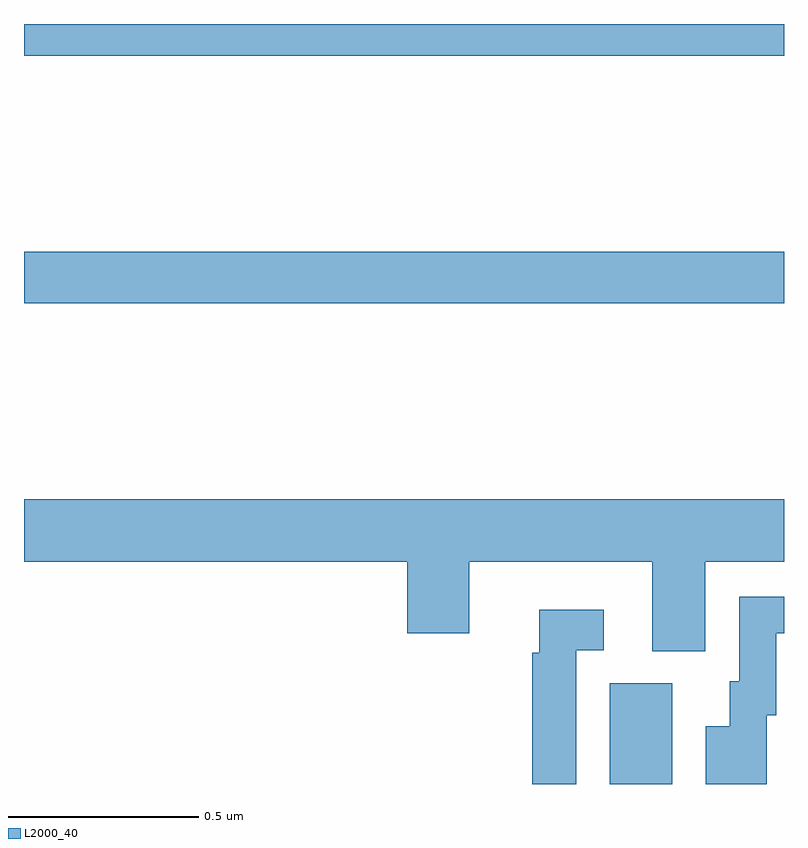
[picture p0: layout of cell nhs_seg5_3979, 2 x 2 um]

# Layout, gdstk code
import gdstk
lib = gdstk.Library(unit=1e-6, precision=1e-09)
def R(c, l, rs):  # rectangles x0, y0, x1, y1
    for r in rs: c.add(gdstk.rectangle(r[:2], r[2:], *l))
def P(c, l, *ps):  # polygons
    for p in ps: c.add(gdstk.Polygon(p, *l))
L2000_40 = (2000, 40)

nhs_seg5_3979 = lib.new_cell('nhs_seg5_3979')
R(nhs_seg5_3979, L2000_40, [(165.542,898.799,165.706,899.064), (164,900.064,166,900.2), (164,900.716,166,900.799)])
P(nhs_seg5_3979, L2000_40, [(165.793,899.384),(166,899.384),(166,899.548),(164,899.548),(164,899.384),(165.008,899.384),(165.008,899.196),(165.172,899.196),(165.172,899.384),(165.653,899.384),(165.653,899.149),(165.793,899.149)],
  [(165.955,898.98),(165.979,898.98),(165.979,899.196),(166,899.196),(166,899.292),(165.882,899.292),(165.882,899.07),(165.857,899.07),(165.857,898.951),(165.794,898.951),(165.794,898.799),(165.955,898.799)],
  [(165.453,899.151),(165.526,899.151),(165.526,899.257),(165.356,899.257),(165.356,899.144),(165.337,899.144),(165.337,898.799),(165.453,898.799)])

lib.write_gds('nhs_seg5_3979.gds')
